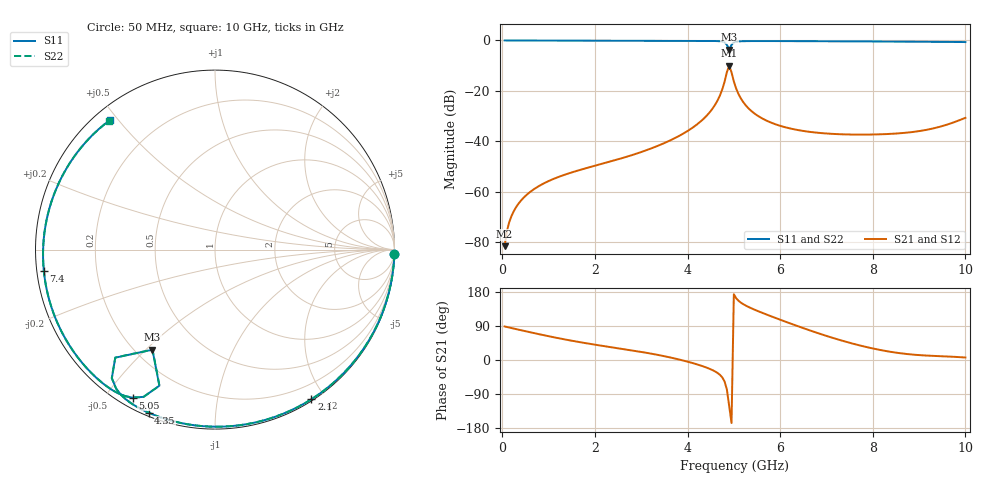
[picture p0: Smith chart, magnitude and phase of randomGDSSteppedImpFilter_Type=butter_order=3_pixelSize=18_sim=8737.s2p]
! freq	dB(S11)	phase(S11)	dB(S12)	phase(S12)
!  dB(S21)	phase(S21)	dB(S22)	phase(S22)
!S-par simulation data
#  GHz  S  DB  R 50
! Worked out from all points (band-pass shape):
!   200 points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, 50 MHz to 10 GHz, reference 50 ohm
!   highest |S21| = -9.96 dB at 4.9 GHz (marker M1); lowest = -81.5 dB at 50 MHz (marker M2)
!   |S21| within 3 dB of the highest: 4.844 GHz to 4.955 GHz (110.4 MHz wide, 2.25 % of centre)
!   lowest |S11| = -3.6 dB at 4.9 GHz (marker M3), VSWR 4.84, Z = 13.3 - j26.2 ohm
!   |S11| at or under -10 dB: nowhere
!   |S22| runs from -3.6 to 0.0 dB; largest |S21 - S12| = 0
!   S11 on the Smith chart (normalised r, x): 50 MHz: 0, -81; 2.1 GHz: 0.02, -1.83; 4.35 GHz: 0.01, -0.67; 5.05 GHz: 0.04, -0.59; 7.4 GHz: 0.02, -0.06; 10 GHz: 0.04, +0.47
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0.05  -0.00 -1.4  -81.48 88.5  -81.48 88.5  -0.00 -1.4
0.2  -0.01 -5.6  -69.47 84.2  -69.47 84.2  -0.01 -5.6
0.5  -0.02 -14.0  -61.57 76.0  -61.57 76.0  -0.02 -14.0
1  -0.03 -27.9  -55.69 62.8  -55.69 62.8  -0.03 -27.9
1.75  -0.06 -48.1  -50.90 45.5  -50.90 45.5  -0.06 -48.1
2.1  -0.07 -57.2  -49.13 38.5  -49.13 38.5  -0.07 -57.2
3.4  -0.11 -89.4  -41.42 12.5  -41.42 12.5  -0.11 -89.5
3.95  -0.14 -102.5  -36.43 -2.7  -36.43 -2.7  -0.14 -102.5
4.35  -0.17 -112.1  -30.97 -17.3  -30.97 -17.3  -0.17 -112.1
4.65  -0.26 -120.8  -23.70 -34.4  -23.70 -34.4  -0.26 -120.8
4.8  -0.74 -128.8  -16.35 -56.6  -16.35 -56.6  -0.74 -128.8
4.85  -1.73 -132.7  -12.51 -78.0  -12.51 -78.0  -1.74 -132.7
4.9  -3.64 -122.0  -9.96 -123.1  -9.96 -123.1  -3.65 -122.0
4.95  -1.73 -112.2  -12.64 -166.3  -12.64 -166.3  -1.74 -112.2
5.05  -0.50 -119.1  -19.04 163.1  -19.04 163.1  -0.50 -119.1
5.25  -0.27 -126.6  -25.54 144.0  -25.54 144.0  -0.27 -126.6
5.6  -0.24 -135.3  -30.77 125.1  -30.77 125.1  -0.24 -135.3
6.7  -0.29 -158.6  -36.34 75.6  -36.34 75.6  -0.29 -158.6
7.4  -0.35 -173.0  -37.21 48.8  -37.21 48.8  -0.35 -173.0
8.35  -0.43 167.1  -37.03 22.3  -37.03 22.3  -0.43 167.2
9.25  -0.53 147.2  -35.07 11.2  -35.07 11.2  -0.53 147.3
10  -0.64 129.2  -30.64 6.6  -30.64 6.6  -0.64 129.3
